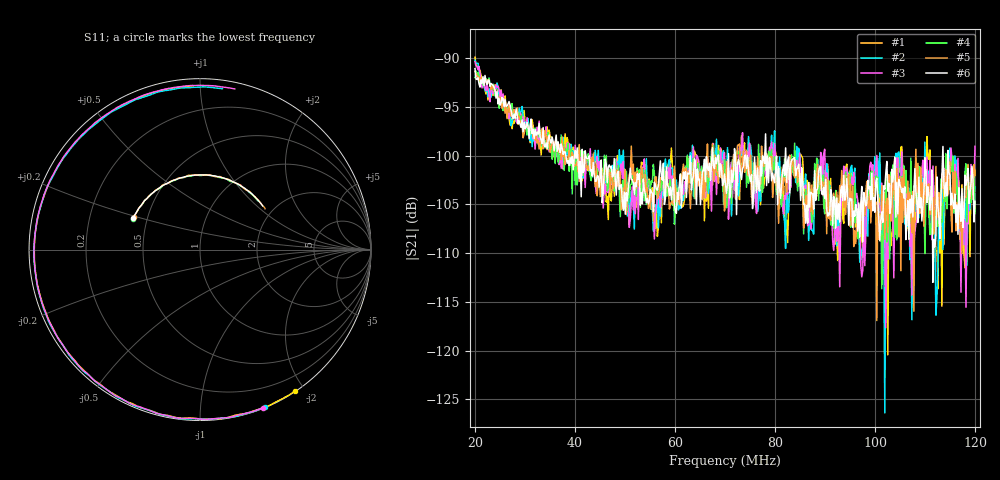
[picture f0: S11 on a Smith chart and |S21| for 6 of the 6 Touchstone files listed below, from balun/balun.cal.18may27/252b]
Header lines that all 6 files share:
! Anritsu VNA Master:  Model: MS2036C/10/77
! SN:  1601066
! Existing Calibration Information:
! TYPE:  Current Settings,  Active Cal Settings
! # POINTS:  500,  500
! START FREQ:  20.000 MHz,  20.000 MHz
! STOP FREQ:  120.000 MHz,  120.000 MHz
! SOURCE POWER:  High,  High
! IFBW:  50 Hz,  50 Hz
! AVG FACTOR:  1 ,  1
! REF PLANE 1:  0 mm,  0 mm
! REF PLANE 2:  0 mm,  0 mm
! CAL TYPE:  Full S11,  Full S11
! CAL METHOD:  SOLT,  SOLT
! CAL LINE TYPE:  Coax,  Coax
! DUT PORT 1:  K-Conn(M),  K-Conn(M)
! DUT PORT 2:  K-Conn(M),  K-Conn(M)
! CAL STATUS:  OK: Accuracy High,  --
# GHZ S DB R 50.0
! FREQ.GHZ  S11DB  S11A  S21DB  S21A  S12DB  S12A  S22DB  S22A
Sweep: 20 MHz to 120 MHz
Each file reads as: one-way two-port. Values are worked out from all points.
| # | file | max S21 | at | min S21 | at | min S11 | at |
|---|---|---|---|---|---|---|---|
| 1 | 2b.47.4-5.s2p | -89.88 dB | 20 MHz | -120.4 dB | 102.6 MHz | -0.4 dB | 117.6 MHz |
| 2 | 2b.66.1.s2p | -90.18 dB | 20 MHz | -126.4 dB | 102 MHz | -0.5 dB | 112.4 MHz |
| 3 | 2b.66.4-5.s2p | -90.33 dB | 20 MHz | -117.7 dB | 102.2 MHz | -0.4 dB | 96.75 MHz |
| 4 | 2b.r20.1.s2p | -91.30 dB | 20.2 MHz | -113.7 dB | 101.4 MHz | -7.4 dB | 47.25 MHz |
| 5 | 2b.r20.2.s2p | -91.33 dB | 20 MHz | -116.9 dB | 100.4 MHz | -7.3 dB | 28.42 MHz |
| 6 | 2b.r20.4-5.s2p | -91.05 dB | 20 MHz | -113.0 dB | 111.6 MHz | -7.3 dB | 28.42 MHz |
